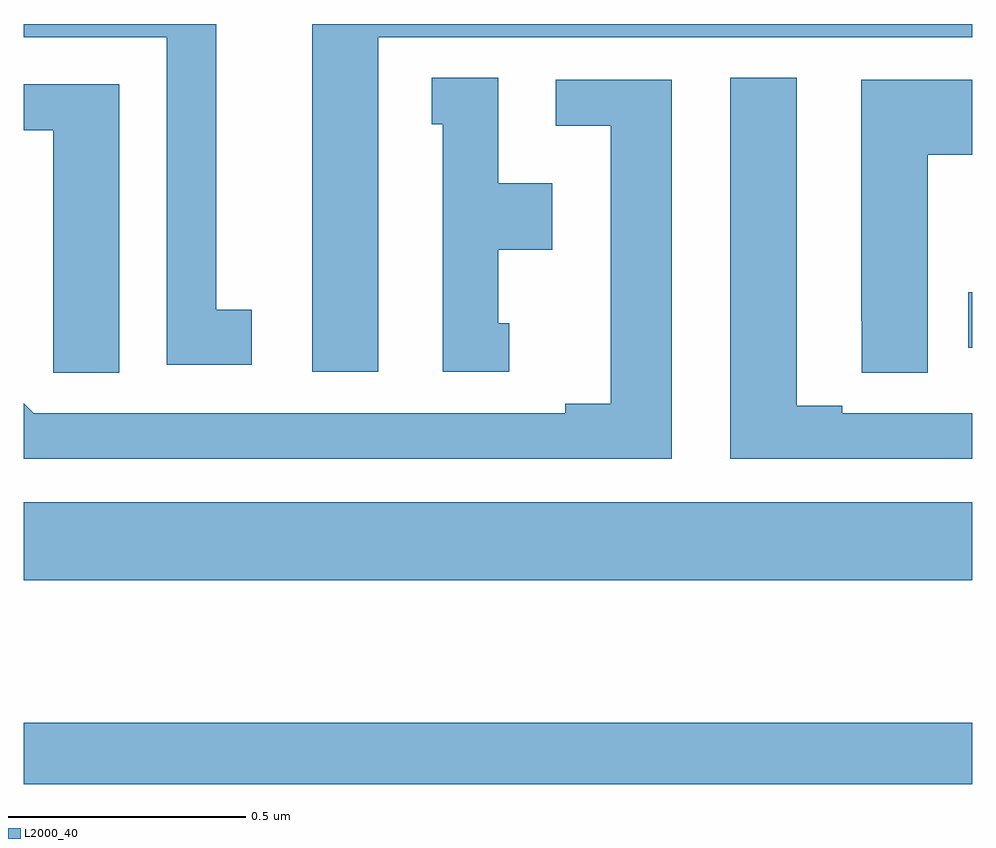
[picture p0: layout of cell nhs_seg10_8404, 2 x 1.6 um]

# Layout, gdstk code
import gdstk
lib = gdstk.Library(unit=1e-6, precision=1e-09)
def R(c, l, rs):  # rectangles x0, y0, x1, y1
    for r in rs: c.add(gdstk.rectangle(r[:2], r[2:], *l))
def P(c, l, *ps):  # polygons
    for p in ps: c.add(gdstk.Polygon(p, *l))
L2000_40 = (2000, 40)

nhs_seg10_8404 = lib.new_cell('nhs_seg10_8404')
R(nhs_seg10_8404, L2000_40, [(216,1287.898,218,1288.027), (216,1288.328,218,1288.492), (217.991,1288.818,218,1288.935)])
P(nhs_seg10_8404, L2000_40, [(216.748,1289.472),(218,1289.472),(218,1289.5),(216.608,1289.5),(216.608,1288.767),(216.748,1288.767)],
  [(216.481,1288.898),(216.406,1288.898),(216.406,1289.5),(216,1289.5),(216,1289.472),(216.302,1289.472),(216.302,1288.782),(216.481,1288.782)],
  [(218,1288.68),(217.726,1288.68),(217.726,1288.695),(217.63,1288.695),(217.63,1289.387),(217.49,1289.387),(217.49,1288.584),(218,1288.584)],
  [(217.024,1288.869),(217,1288.869),(217,1289.024),(217.114,1289.024),(217.114,1289.164),(217,1289.164),(217,1289.387),(216.86,1289.387),(216.86,1289.289),(216.884,1289.289),(216.884,1288.767),(217.024,1288.767)],
  [(217.906,1289.224),(218,1289.224),(218,1289.383),(217.766,1289.383),(217.766,1288.873),(217.767,1288.873),(217.767,1288.765),(217.906,1288.765)],
  [(217.366,1289.382),(217.122,1289.382),(217.122,1289.286),(217.238,1289.286),(217.238,1288.7),(217.142,1288.7),(217.142,1288.68),(216.021,1288.68),(216,1288.701),(216,1288.584),(217.366,1288.584)],
  [(216.202,1289.373),(216,1289.373),(216,1289.276),(216.062,1289.276),(216.062,1288.873),(216.063,1288.873),(216.063,1288.765),(216.202,1288.765)])

lib.write_gds('nhs_seg10_8404.gds')
